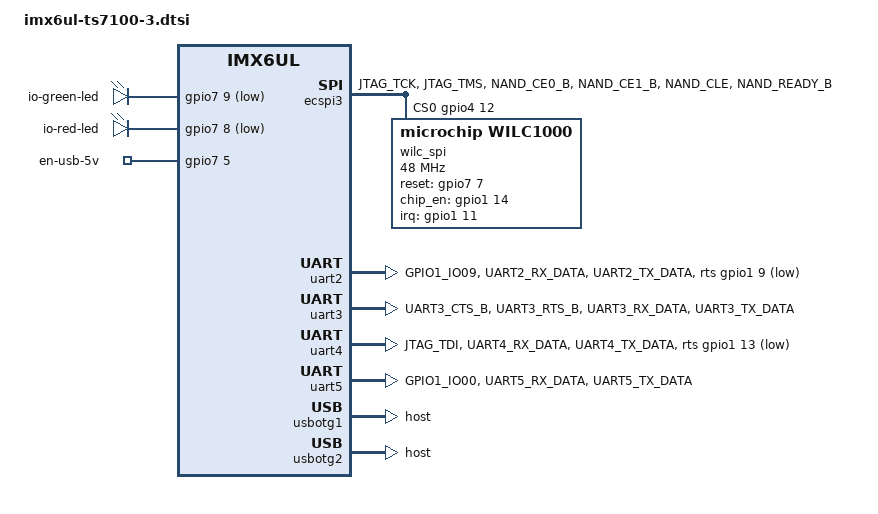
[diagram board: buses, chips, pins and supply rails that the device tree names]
// SPDX-License-Identifier: GPL-2.0+ or X11
/*
 * Copyright (C) 2023 Technologic Systems, Inc. dba embeddedTS
 */

/ {
	leds {
		compatible = "gpio-leds";

		io-green-led {
			label = "io-green-led";
			gpios = <&gpio7 9 GPIO_ACTIVE_LOW>;
			default-state = "off";
		};

		io-red-led {
			label = "io-red-led";
			gpios = <&gpio7 8 GPIO_ACTIVE_LOW>;
			default-state = "off";
		};
		/* The following are meant to be userspace controlled IO. The
		 * kernel does not allow setting default state of GPIO, but
		 * the default state of LEDs can be set, which is why the LED
		 * subsystem is used.
		 */

		/* The actual switch is present on the TS-7100-Z baseboard, so
		 * we specifically implement control for it here. It is
		 * dependent on the FPGA GPIO which is set up in the
		 * 7100.dtsi. No iomux needs to be set up for it.
		 */
		en-usb-5v {
			label = "en-usb-5v";
			gpios = <&gpio7 5 GPIO_ACTIVE_HIGH>;
			default-state = "on";
		};
	};
};

&ecspi3 {
	fsl,spi-num-chipselects = <1>;
	cs-gpios = <&gpio4 12 GPIO_ACTIVE_HIGH>;
	pinctrl-names = "default";
	pinctrl-0 = <&pinctrl_ecspi3>;
	status = "okay";

	wilc_spi@0 {
		compatible = "microchip,wilc1000", "microchip,wilc3000";
		reg = <0>;
		spi-max-frequency = <48000000>;
		/* These are in FPGA! */
		reset-gpios = <&gpio7 7 GPIO_ACTIVE_HIGH>;
		chip_en-gpios = <&gpio1 14 GPIO_ACTIVE_HIGH>;
		interrupt-parent = <&gpio1>;
		interrupts = <11 GPIO_ACTIVE_HIGH>;
		status = "okay";
	};

};

/* CPU GPIO1: 209c000.gpio */
&gpio1 {
	gpio-line-names =
		"RS485_5_TXEN",  "RTC_BATT_FAIL", "I2C_1_CLK",     "I2C_1_DAT",
		"AN_CH0",        "AN_CH1",        "",              "",
		"AN_CH2",        "RS485_2_TXEN",  "",              "",
		"",              "",              "",              "",
		"",              "",              "",              "",
		"",              "",              "",              "",
		"",              "",              "",              "",
		"",              "",              "",              "";
};

/* CPU GPIO3: 20a4000.gpio */
&gpio3 {
	gpio-line-names =
		"",              "",              "",              "",
		"",              "",              "",              "",
		"",              "",              "",              "",
		"",              "",              "NIM_STATUS",    "",
		"",              "",              "",              "",
		"",              "",              "",              "",
		"",              "",              "",              "",
		"",              "",              "",              "";
};

/* CPU GPIO5: 20ac000.gpio */
&gpio5 {
	gpio-line-names =
		"POWER_FAIL_3V", "FPGA_IRQ",      "",              "",
		"EN_RELAY_1",    "EN_RELAY_2",    "NIM_RESET",     "",
		"",              "",              "",              "",
		"",              "",              "",              "",
		"",              "",              "",              "",
		"",              "",              "",              "",
		"",              "",              "",              "",
		"",              "",              "",              "";
};

/* FPGA dio: 50004010.gpio */
&gpio6 {
	gpio-line-names =
		"DIO_1_OUT", "DIO_2_OUT", "DIO_1_IN",  "DIO_2_IN",
		"DIO_3_IN",  "DIO_6",     "DIG_IN_1",  "DIG_IN_2",
		"DIG_IN_3",  "EN_CL_1",   "EN_CL_2",   "EN_CL_3",
		"",          "",          "EN_CL_4",   "EN_HS_SW";
};

/* FPGA dio2: 50004040.gpio */
&gpio7 {
	gpio-line-names =
		"EN_EMMC_3V3#",   "EN_ADC1_12V",    "EN_ADC2_12V",    "EN_ADC3_12V",
		"EN_ADC4_12V",    "EN_USB_HOST_5V", "PHY_RESET#",     "WIFI_RESET#",
		"IO_RED_LED#",    "IO_GREEN_LED#",  "",               "",
		"EN_PROG_SILAB",  "DIO_3_OUT",      "EN_HSPWM",       "EN_LSPWM";
};

/* FPGA dio3: 50004050.gpio */
&gpio8 {
	gpio-line-names =
		"CPU_TOUCH_IRQ#", "",               "C6_PAD",         "B8_PAD",
		"C9_PAD",         "C8_PAD",         "NIM_3V3#_4V",    "DIO_16_PAD",
		"NIM_PWR_ON",     "SEL_NIM_USB",    "DIO_FAULT#",     "",
		"",               "",               "EN_BK_LT#",      "";
};

&iomuxc {
	pinctrl-names = "default";
	pinctrl-0 = <&ts7100_pinctrl_hog &ts7100_3_pinctrl_hog>;

	imx6ul-ts7100-3 {
		ts7100_3_pinctrl_hog: hoggrp {
			fsl,pins = <
				/*
				 * All GPIO should be 0x1b020 unless special
				 * 0x1b020 == Hyst., 100k PU, 50 mA drive
				 * 0x1a020 == no pull resistor
				 * 0x13020 == 100k PD
				 */

				 /* REV B Strap */
				MX6UL_PAD_JTAG_TDO__GPIO1_IO12		0x1b020

				/* NIM_STATUS - set to drop when modem is no longer driving it high */
				MX6UL_PAD_LCD_DATA09__GPIO3_IO14	0x13020

				/* POWER_FAIL */
				MX6UL_PAD_SNVS_TAMPER0__GPIO5_IO00	0x1b020
				/* EN_RELAY 1 */
				MX6UL_PAD_SNVS_TAMPER4__GPIO5_IO04	0x1a020
				/* EN_RELAY 2 */
				MX6UL_PAD_SNVS_TAMPER5__GPIO5_IO05	0x1a020
				/* NIM_RESET */
				MX6UL_PAD_SNVS_TAMPER6__GPIO5_IO06	0x1b020
				/* FPGA Spares */
				MX6UL_PAD_SNVS_TAMPER7__GPIO5_IO07	0x1b020
				MX6UL_PAD_SNVS_TAMPER8__GPIO5_IO08	0x1b020
				MX6UL_PAD_SNVS_TAMPER9__GPIO5_IO09	0x1b020
			>;
		};

		pinctrl_ecspi3: ecspi3grp {
			fsl,pins = <
				MX6UL_PAD_JTAG_TCK__GPIO1_IO14		0x1b020
				MX6UL_PAD_JTAG_TMS__GPIO1_IO11		0x1b020
				MX6UL_PAD_NAND_CE0_B__ECSPI3_SCLK	0x1b020
				MX6UL_PAD_NAND_CE1_B__ECSPI3_MOSI	0x1b020
				MX6UL_PAD_NAND_CLE__ECSPI3_MISO		0x1b020
				MX6UL_PAD_NAND_READY_B__GPIO4_IO12	0x1b020
			>;
		};

		pinctrl_uart2: uart2grp {
			fsl,pins = <
				MX6UL_PAD_GPIO1_IO09__GPIO1_IO09	0x13020
				MX6UL_PAD_UART2_RX_DATA__UART2_DCE_RX	0x1b0b1
				MX6UL_PAD_UART2_TX_DATA__UART2_DCE_TX	0x1b0b1
			>;
		};

		pinctrl_uart3: uart3grp {
			fsl,pins = <
				MX6UL_PAD_UART3_CTS_B__UART3_DCE_CTS	0x1b0b1
				MX6UL_PAD_UART3_RTS_B__UART3_DCE_RTS	0x1b0b1
				MX6UL_PAD_UART3_RX_DATA__UART3_DCE_RX	0x1b0b1
				MX6UL_PAD_UART3_TX_DATA__UART3_DCE_TX	0x1b0b1
			>;
		};

		pinctrl_uart4: uart4grp {
			fsl,pins = <
				MX6UL_PAD_JTAG_TDI__GPIO1_IO13		0x1b020
				MX6UL_PAD_UART4_RX_DATA__UART4_DCE_RX	0x1b0b1
				MX6UL_PAD_UART4_TX_DATA__UART4_DCE_TX	0x1b0b1
			>;
		};

		pinctrl_uart5: uart5grp {
			fsl,pins = <
				MX6UL_PAD_GPIO1_IO00__GPIO1_IO00	0x13020
				MX6UL_PAD_UART5_RX_DATA__UART5_DCE_RX	0x1b0b1
				MX6UL_PAD_UART5_TX_DATA__UART5_DCE_TX	0x1b0b1
			>;
		};
	};
};

&uart2 {
	pinctrl-names = "default";
	pinctrl-0 = <&pinctrl_uart2>;
	uart-has-rtscts;
	rts-gpios = <&gpio1 9 GPIO_ACTIVE_LOW>;
	linux,rs485-enabled-at-boot-time;
	dma-names = "", "";
        status = "okay";
};

&uart3 {
	pinctrl-names = "default";
	pinctrl-0 = <&pinctrl_uart3>;
	status = "okay";
	uart-has-rtscts;
};

&uart4 {
	pinctrl-names = "default";
	pinctrl-0 = <&pinctrl_uart4>;
	status = "okay";
	rts-gpios = <&gpio1 13 GPIO_ACTIVE_LOW>;
};

&uart5 {
	pinctrl-names = "default";
	pinctrl-0 = <&pinctrl_uart5>;
	uart-has-rtscts;
	linux,rs485-enabled-at-boot-time;
	dma-names = "", "";
        status = "okay";
};

&usbotg1 {
	dr_mode = "host";
	disable-over-current;
	status = "okay";
};

&usbotg2 {
	dr_mode = "host";
	disable-over-current;
	status = "okay";
};
